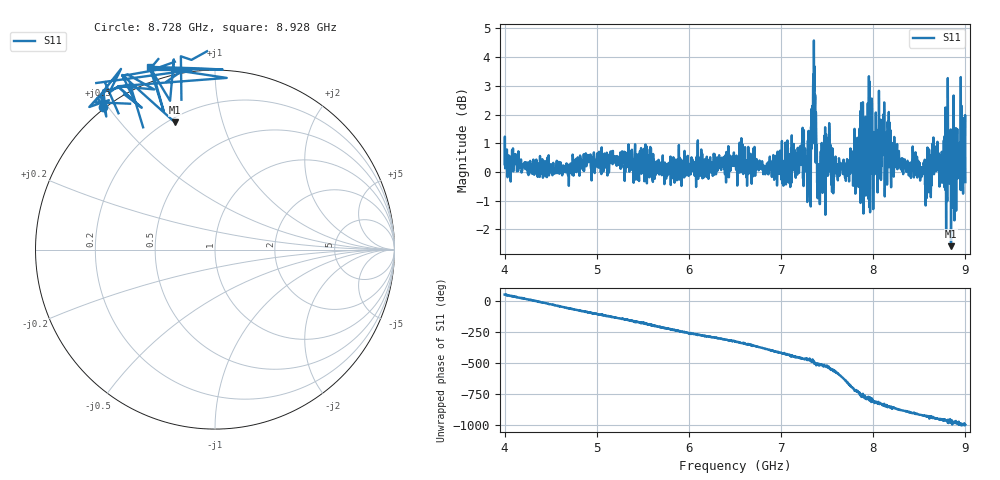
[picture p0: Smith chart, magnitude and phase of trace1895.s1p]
! Created with skrf 1.8.0 (http://scikit-rf.org).
# Hz S RI R 50.0
!freq ReS11 ImS11
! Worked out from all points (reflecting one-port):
!   1601 points, 4 GHz to 9 GHz, reference 50 ohm
!   lowest |S11| = -2.6 dB at 8.844 GHz (marker M1), VSWR 6.76, Z = 11.2 + j35.5 ohm
!   phase of S11 starts at 52 deg and turns -1047 deg over the sweep
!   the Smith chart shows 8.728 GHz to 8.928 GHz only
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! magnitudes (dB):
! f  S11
! 4 GHz  0.3
! 4.625 GHz  -0.1
! 5.25 GHz  0.2
! 5.875 GHz  0.3
! 6.5 GHz  0.4
! 7.078 GHz  -0.1
! 7.125 GHz  0.3
! 7.222 GHz  0.9
! 7.297 GHz  1.4
! 7.356 GHz  4.6
! 7.372 GHz  2.6
! 7.412 GHz  -0.5
! 7.512 GHz  1.2
! 7.591 GHz  0.5
! 7.75 GHz  -0.1
! 7.825 GHz  0.0
! 7.891 GHz  1.5
! 7.941 GHz  2.4
! 7.962 GHz  3.1
! 7.981 GHz  -0.1
! 8.162 GHz  1.2
! 8.216 GHz  0.7
! 8.375 GHz  0.2
! 8.578 GHz  -0.4
! 8.8 GHz  0.0
! 8.844 GHz  -2.6
! 8.972 GHz  0.0
! 9 GHz  -0.4
